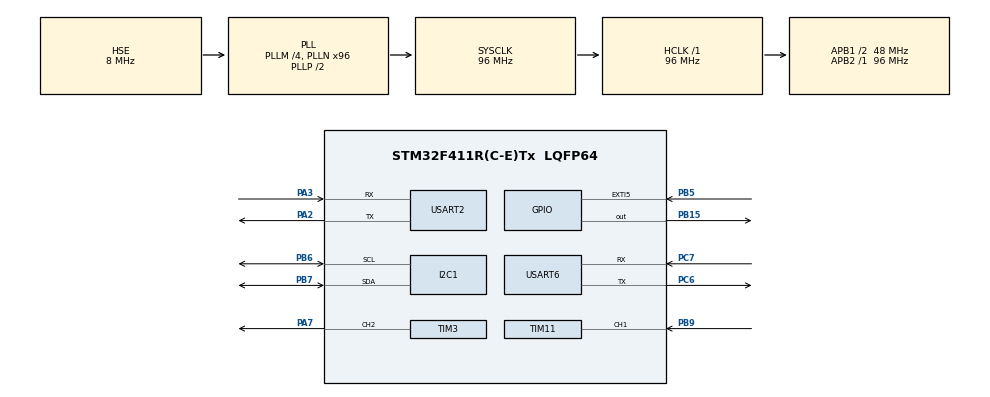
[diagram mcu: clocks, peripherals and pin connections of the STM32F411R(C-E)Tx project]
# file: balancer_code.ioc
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I2C1.I2C_Mode=I2C_Fast
Mcu.Family=STM32F4
Mcu.Name=STM32F411R(C-E)Tx
Mcu.Package=LQFP64
NVIC.PriorityGroup=NVIC_PRIORITYGROUP_4
NVIC.TIM1_UP_TIM10_IRQn=true\:0\:0\:false\:false\:true\:true\:true\:true
NVIC.TIM4_IRQn=true\:0\:0\:false\:false\:true\:true\:true\:true
NVIC.TIM5_IRQn=true\:0\:0\:false\:false\:true\:true\:true\:true
NVIC.USART2_IRQn=true\:0\:0\:false\:false\:true\:true\:true\:true
NVIC.USART6_IRQn=true\:0\:0\:false\:false\:true\:true\:true\:true
PA13.Mode=Serial_Wire
PA13.Signal=SYS_JTMS-SWDIO
PA14.Mode=Serial_Wire
PA14.Signal=SYS_JTCK-SWCLK
PA2.Mode=Asynchronous
PA2.Signal=USART2_TX
PA3.Mode=Asynchronous
PA3.Signal=USART2_RX
PA7.Signal=S_TIM3_CH2
PB15.GPIO_PuPd=GPIO_PULLDOWN
PB15.Signal=GPIO_Output
PB3.Signal=SYS_JTDO-SWO
PB5.Signal=GPXTI5
PB6.Mode=I2C
PB6.Signal=I2C1_SCL
PB7.Mode=I2C
PB7.Signal=I2C1_SDA
PB9.Signal=S_TIM11_CH1
PC6.Mode=Asynchronous
PC6.Signal=USART6_TX
PC7.Mode=Asynchronous
PC7.Signal=USART6_RX
PH0\ -\ OSC_IN.Mode=HSE-External-Oscillator
PH0\ -\ OSC_IN.Signal=RCC_OSC_IN
PH1\ -\ OSC_OUT.Mode=HSE-External-Oscillator
PH1\ -\ OSC_OUT.Signal=RCC_OSC_OUT
ProjectManager.HeapSize=0x200
ProjectManager.StackSize=0x400
ProjectManager.TargetToolchain=STM32CubeIDE
RCC.48MHZClocksFreq_Value=48000000
RCC.AHBFreq_Value=96000000
RCC.APB1CLKDivider=RCC_HCLK_DIV2
RCC.APB1Freq_Value=48000000
RCC.APB1TimFreq_Value=96000000
RCC.APB2Freq_Value=96000000
RCC.APB2TimFreq_Value=96000000
RCC.CortexFreq_Value=96000000
RCC.HCLKFreq_Value=96000000
RCC.HSE_VALUE=8000000
RCC.HSI_VALUE=16000000
RCC.LSE_VALUE=32768
RCC.PLLM=4
RCC.PLLN=96
RCC.PLLSourceVirtual=RCC_PLLSOURCE_HSE
RCC.RCC_RTC_Clock_Source=RCC_RTCCLKSOURCE_LSI
RCC.RCC_RTC_Clock_SourceVirtual=RCC_RTCCLKSOURCE_LSI
RCC.SYSCLKFreq_VALUE=96000000
RCC.SYSCLKSource=RCC_SYSCLKSOURCE_PLLCLK
RCC.VCOOutputFreq_Value=192000000
SH.S_TIM11_CH1.0=TIM11_CH1,Input_Capture1_from_TI1
SH.S_TIM3_CH2.0=TIM3_CH2,PWM Generation2 CH2
TIM1.Channel-Output\ Compare1\ No\ Output=TIM_CHANNEL_1
TIM1.Period=64000-1
TIM1.Prescaler=15-1
TIM11.Channel=TIM_CHANNEL_1
TIM3.Channel-PWM\ Generation2\ CH2=TIM_CHANNEL_2
TIM4.Channel-Output\ Compare1\ No\ Output=TIM_CHANNEL_1
TIM4.Period=64000-1
TIM4.Prescaler=75-1
TIM5.Channel-Output\ Compare1\ No\ Output=TIM_CHANNEL_1
TIM5.Period=64000-1
TIM5.Prescaler=150-1
USART2.VirtualMode=VM_ASYNC
USART6.VirtualMode=VM_ASYNC
VP_TIM11_VS_ClockSourceINT.Mode=Enable_Timer
VP_TIM1_VS_no_output1.Mode=Output Compare1 No Output
VP_TIM4_VS_no_output1.Mode=Output Compare1 No Output
VP_TIM5_VS_no_output1.Mode=Output Compare1 No Output
board=custom

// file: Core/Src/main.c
/* USER CODE BEGIN Header */
/**
  ******************************************************************************
  * @file   main.c
  * @brief  Main program body
  ******************************************************************************
  * @attention
  *
  * Copyright (c) 2024 STMicroelectronics.
  * All rights reserved.
  *
  * This software is licensed under terms that can be found in the LICENSE file
  * in the root directory of this software component.
  * If no LICENSE file comes with this software, it is provided AS-IS.
  *
  ******************************************************************************
  */
/* USER CODE END Header */
#include "main.h"

/* USER CODE BEGIN Includes */
#include "odrive_wrapper.h"
#include "IMU_driver.h"
#include "controller.h"
#include "rc_input.h"
#include <math.h>
/* USER CODE END Includes */

I2C_HandleTypeDef hi2c1;

TIM_HandleTypeDef htim1;
TIM_HandleTypeDef htim3;
TIM_HandleTypeDef htim4;
TIM_HandleTypeDef htim5;
TIM_HandleTypeDef htim11;

UART_HandleTypeDef huart2;
UART_HandleTypeDef huart6;

/* USER CODE BEGIN PV */

// comms test
/*
#define BUFFER_SIZE 5
uint8_t rxBuffer[BUFFER_SIZE];
uint8_t rxIndex = 0;
uint8_t char_in;
*/

// UART2 is laptop
// UART6 is odrive

// odrive obj
odrive_t odrive = {
		  .huart = &huart6
};

odrive_t laptop = {
		  .huart = &huart2
};

//creating IMU object
ICM_20948 IMU ={
		.hi2c = &hi2c1,
		.huart = &huart2 // uart to print data
};

extern uint8_t rxBuffer; // Receive buffer. max length of expected returned values.
extern uint8_t rxIndex; // init index at zero.
extern uint8_t responseFinishedFlag;
extern uint8_t receivedData;
extern char transmitBuffer;

volatile uint8_t IMU_rdy_flag = 0;
volatile uint8_t LED_rdy_flag = 0;
volatile uint8_t CTRL_rdy_flag = 0;

volatile float real_pos = 0;
volatile float sys_vel = 0;

/* USER CODE END PV */

void SystemClock_Config(void);
static void MX_GPIO_Init(void);
static void MX_I2C1_Init(void);
static void MX_USART2_UART_Init(void);
static void MX_TIM3_Init(void);
static void MX_USART6_UART_Init(void);
static void MX_TIM11_Init(void);
static void MX_TIM1_Init(void);
static void MX_TIM5_Init(void);
static void MX_TIM4_Init(void);

int main(void)
{

  /* MCU Configuration--------------------------------------------------------*/

  /* Reset of all peripherals, Initializes the Flash interface and the Systick. */
  HAL_Init();

  /* Configure the system clock */
  SystemClock_Config();

  /* Initialize all configured peripherals */
  MX_GPIO_Init();
  MX_I2C1_Init();
  MX_USART2_UART_Init();
  MX_TIM3_Init();
  MX_USART6_UART_Init();
  MX_TIM11_Init();
  MX_TIM1_Init();
  MX_TIM5_Init();
  MX_TIM4_Init();
  /* USER CODE BEGIN 2 */

  // start interrupts for timing tasks
  HAL_TIM_Base_Start_IT(&htim1);
  HAL_TIM_Base_Start_IT(&htim4);
  HAL_TIM_Base_Start_IT(&htim5);

  // start receiving
  start_receive_string(&odrive);

  HAL_UART_Transmit(&huart2, (uint8_t*)"\033c", strlen("\033c"), HAL_MAX_DELAY);

  ODRIVE_Reboot(&odrive);
  HAL_Delay(10000);

  ODRIVE_ClearErrors(&odrive);

  IMU_init(&IMU);

  // battery voltage readout
  //uint8_t* voltage = ODRIVE_GetVBus(&odrive);
  //char new_mess[50];
  //int mess_len = sprintf(new_mess, "Received VBus: %s\r\n", voltage);
  //HAL_UART_Transmit(laptop.huart, (uint8_t*)new_mess, mess_len, HAL_MAX_DELAY);

  /* USER CODE END 2 */

  /* Infinite loop */
  while (1)
  {

    /* USER CODE BEGIN 3 */

    /*
	// speed requests
	ODRIVE_SetVelocity(&odrive, 0, 2);
	ODRIVE_SetVelocity(&laptop, 0, 2);
	HAL_Delay(2000);
	ODRIVE_SetVelocity(&odrive, 0, 0.5);
	ODRIVE_SetVelocity(&laptop, 0, 0.5);
	HAL_Delay(2000);
	*/

	//IMU_read_accel(&IMU);
	//IMU_read_gyro(&IMU);

	// LED task
	if (LED_rdy_flag == 1) {
		LED_rdy_flag = 0;

		HAL_GPIO_TogglePin(GPIOB, GPIO_PIN_15);

	}

	// IMU read task
    if (IMU_rdy_flag ==  1) {
        IMU_rdy_flag = 0;

    	pos_spd new_IMU_out = calculate_IMU_Angle(&IMU);

    	real_pos = new_IMU_out.position - 90;
    	sys_vel = new_IMU_out.speed;

    	char ctrl_msg[50];
        sprintf(ctrl_msg, "SYS ANGLE: %.4f     ", real_pos);
        HAL_UART_Transmit(laptop.huart, (uint8_t*)ctrl_msg, strlen(ctrl_msg), HAL_MAX_DELAY);

        sprintf(ctrl_msg, "ANG_VEL: %.4f     \r\n", new_IMU_out.speed);
        HAL_UART_Transmit(laptop.huart, (uint8_t*)ctrl_msg, strlen(ctrl_msg), HAL_MAX_DELAY);

    }

    // Controller task
    if (CTRL_rdy_flag == 1) {
    	CTRL_rdy_flag = 0;

    	uint8_t* feedback = ODRIVE_GetFeedback(&odrive, 0);

    	float motor_pos, motor_vel;
    	extractFloats(feedback, &motor_pos, &motor_vel);

    	update_control(&odrive, real_pos, sys_vel, motor_vel);
    	//char feedback_mess[50];
        //int feedback_mess_len = sprintf(feedback_mess, "MOTOR_FEEDBACK: %s\r\n", feedback);
        //HAL_UART_Transmit(laptop.huart, (uint8_t*)feedback_mess, feedback_mess_len, HAL_MAX_DELAY);

    }

  }
  /* USER CODE END 3 */
}

void SystemClock_Config(void)
{
  RCC_OscInitTypeDef RCC_OscInitStruct = {0};
  RCC_ClkInitTypeDef RCC_ClkInitStruct = {0};

  /** Configure the main internal regulator output voltage
  */
  __HAL_RCC_PWR_CLK_ENABLE();
  __HAL_PWR_VOLTAGESCALING_CONFIG(PWR_REGULATOR_VOLTAGE_SCALE1);

  /** Initializes the RCC Oscillators according to the specified parameters
  * in the RCC_OscInitTypeDef structure.
  */
  RCC_OscInitStruct.OscillatorType = RCC_OSCILLATORTYPE_HSE;
  RCC_OscInitStruct.HSEState = RCC_HSE_ON;
  RCC_OscInitStruct.PLL.PLLState = RCC_PLL_ON;
  RCC_OscInitStruct.PLL.PLLSource = RCC_PLLSOURCE_HSE;
  RCC_OscInitStruct.PLL.PLLM = 4;
  RCC_OscInitStruct.PLL.PLLN = 96;
  RCC_OscInitStruct.PLL.PLLP = RCC_PLLP_DIV2;
  RCC_OscInitStruct.PLL.PLLQ = 4;
  if (HAL_RCC_OscConfig(&RCC_OscInitStruct) != HAL_OK)
  {
    Error_Handler();
  }

  /** Initializes the CPU, AHB and APB buses clocks
  */
  RCC_ClkInitStruct.ClockType = RCC_CLOCKTYPE_HCLK|RCC_CLOCKTYPE_SYSCLK
                              |RCC_CLOCKTYPE_PCLK1|RCC_CLOCKTYPE_PCLK2;
  RCC_ClkInitStruct.SYSCLKSource = RCC_SYSCLKSOURCE_PLLCLK;
  RCC_ClkInitStruct.AHBCLKDivider = RCC_SYSCLK_DIV1;
  RCC_ClkInitStruct.APB1CLKDivider = RCC_HCLK_DIV2;
  RCC_ClkInitStruct.APB2CLKDivider = RCC_HCLK_DIV1;

  if (HAL_RCC_ClockConfig(&RCC_ClkInitStruct, FLASH_LATENCY_3) != HAL_OK)
  {
    Error_Handler();
  }
}

static void MX_I2C1_Init(void)
{

  hi2c1.Instance = I2C1;
  hi2c1.Init.ClockSpeed = 400000;
  hi2c1.Init.DutyCycle = I2C_DUTYCYCLE_2;
  hi2c1.Init.OwnAddress1 = 0;
  hi2c1.Init.AddressingMode = I2C_ADDRESSINGMODE_7BIT;
  hi2c1.Init.DualAddressMode = I2C_DUALADDRESS_DISABLE;
  hi2c1.Init.OwnAddress2 = 0;
  hi2c1.Init.GeneralCallMode = I2C_GENERALCALL_DISABLE;
  hi2c1.Init.NoStretchMode = I2C_NOSTRETCH_DISABLE;
  if (HAL_I2C_Init(&hi2c1) != HAL_OK)
  {
    Error_Handler();
  }

}

static void MX_TIM1_Init(void)
{

  TIM_MasterConfigTypeDef sMasterConfig = {0};
  TIM_OC_InitTypeDef sConfigOC = {0};
  TIM_BreakDeadTimeConfigTypeDef sBreakDeadTimeConfig = {0};

  htim1.Instance = TIM1;
  htim1.Init.Prescaler = 15-1;
  htim1.Init.CounterMode = TIM_COUNTERMODE_UP;
  htim1.Init.Period = 64000-1;
  htim1.Init.ClockDivision = TIM_CLOCKDIVISION_DIV1;
  htim1.Init.RepetitionCounter = 0;
  htim1.Init.AutoReloadPreload = TIM_AUTORELOAD_PRELOAD_DISABLE;
  if (HAL_TIM_OC_Init(&htim1) != HAL_OK)
  {
    Error_Handler();
  }
  sMasterConfig.MasterOutputTrigger = TIM_TRGO_RESET;
  sMasterConfig.MasterSlaveMode = TIM_MASTERSLAVEMODE_DISABLE;
  if (HAL_TIMEx_MasterConfigSynchronization(&htim1, &sMasterConfig) != HAL_OK)
  {
    Error_Handler();
  }
  sConfigOC.OCMode = TIM_OCMODE_TIMING;
  sConfigOC.Pulse = 0;
  sConfigOC.OCPolarity = TIM_OCPOLARITY_HIGH;
  sConfigOC.OCNPolarity = TIM_OCNPOLARITY_HIGH;
  sConfigOC.OCFastMode = TIM_OCFAST_DISABLE;
  sConfigOC.OCIdleState = TIM_OCIDLESTATE_RESET;
  sConfigOC.OCNIdleState = TIM_OCNIDLESTATE_RESET;
  if (HAL_TIM_OC_ConfigChannel(&htim1, &sConfigOC, TIM_CHANNEL_1) != HAL_OK)
  {
    Error_Handler();
  }
  sBreakDeadTimeConfig.OffStateRunMode = TIM_OSSR_DISABLE;
  sBreakDeadTimeConfig.OffStateIDLEMode = TIM_OSSI_DISABLE;
  sBreakDeadTimeConfig.LockLevel = TIM_LOCKLEVEL_OFF;
  sBreakDeadTimeConfig.DeadTime = 0;
  sBreakDeadTimeConfig.BreakState = TIM_BREAK_DISABLE;
  sBreakDeadTimeConfig.BreakPolarity = TIM_BREAKPOLARITY_HIGH;
  sBreakDeadTimeConfig.AutomaticOutput = TIM_AUTOMATICOUTPUT_DISABLE;
  if (HAL_TIMEx_ConfigBreakDeadTime(&htim1, &sBreakDeadTimeConfig) != HAL_OK)
  {
    Error_Handler();
  }

}

static void MX_TIM3_Init(void)
{

  TIM_MasterConfigTypeDef sMasterConfig = {0};
  TIM_OC_InitTypeDef sConfigOC = {0};

  htim3.Instance = TIM3;
  htim3.Init.Prescaler = 0;
  htim3.Init.CounterMode = TIM_COUNTERMODE_UP;
  htim3.Init.Period = 65535;
  htim3.Init.ClockDivision = TIM_CLOCKDIVISION_DIV1;
  htim3.Init.AutoReloadPreload = TIM_AUTORELOAD_PRELOAD_DISABLE;
  if (HAL_TIM_PWM_Init(&htim3) != HAL_OK)
  {
    Error_Handler();
  }
  sMasterConfig.MasterOutputTrigger = TIM_TRGO_RESET;
  sMasterConfig.MasterSlaveMode = TIM_MASTERSLAVEMODE_DISABLE;
  if (HAL_TIMEx_MasterConfigSynchronization(&htim3, &sMasterConfig) != HAL_OK)
  {
    Error_Handler();
  }
  sConfigOC.OCMode = TIM_OCMODE_PWM1;
  sConfigOC.Pulse = 0;
  sConfigOC.OCPolarity = TIM_OCPOLARITY_HIGH;
  sConfigOC.OCFastMode = TIM_OCFAST_DISABLE;
  if (HAL_TIM_PWM_ConfigChannel(&htim3, &sConfigOC, TIM_CHANNEL_2) != HAL_OK)
  {
    Error_Handler();
  }
  HAL_TIM_MspPostInit(&htim3);

}

static void MX_TIM4_Init(void)
{

  TIM_MasterConfigTypeDef sMasterConfig = {0};
  TIM_OC_InitTypeDef sConfigOC = {0};

  htim4.Instance = TIM4;
  htim4.Init.Prescaler = 75-1;
  htim4.Init.CounterMode = TIM_COUNTERMODE_UP;
  htim4.Init.Period = 64000-1;
  htim4.Init.ClockDivision = TIM_CLOCKDIVISION_DIV1;
  htim4.Init.AutoReloadPreload = TIM_AUTORELOAD_PRELOAD_DISABLE;
  if (HAL_TIM_OC_Init(&htim4) != HAL_OK)
  {
    Error_Handler();
  }
  sMasterConfig.MasterOutputTrigger = TIM_TRGO_RESET;
  sMasterConfig.MasterSlaveMode = TIM_MASTERSLAVEMODE_DISABLE;
  if (HAL_TIMEx_MasterConfigSynchronization(&htim4, &sMasterConfig) != HAL_OK)
  {
    Error_Handler();
  }
  sConfigOC.OCMode = TIM_OCMODE_TIMING;
  sConfigOC.Pulse = 0;
  sConfigOC.OCPolarity = TIM_OCPOLARITY_HIGH;
  sConfigOC.OCFastMode = TIM_OCFAST_DISABLE;
  if (HAL_TIM_OC_ConfigChannel(&htim4, &sConfigOC, TIM_CHANNEL_1) != HAL_OK)
  {
    Error_Handler();
  }

}

static void MX_TIM5_Init(void)
{

  TIM_MasterConfigTypeDef sMasterConfig = {0};
  TIM_OC_InitTypeDef sConfigOC = {0};

  htim5.Instance = TIM5;
  htim5.Init.Prescaler = 150-1;
  htim5.Init.CounterMode = TIM_COUNTERMODE_UP;
  htim5.Init.Period = 64000-1;
  htim5.Init.ClockDivision = TIM_CLOCKDIVISION_DIV1;
  htim5.Init.AutoReloadPreload = TIM_AUTORELOAD_PRELOAD_DISABLE;
  if (HAL_TIM_OC_Init(&htim5) != HAL_OK)
  {
    Error_Handler();
  }
  sMasterConfig.MasterOutputTrigger = TIM_TRGO_RESET;
  sMasterConfig.MasterSlaveMode = TIM_MASTERSLAVEMODE_DISABLE;
  if (HAL_TIMEx_MasterConfigSynchronization(&htim5, &sMasterConfig) != HAL_OK)
  {
    Error_Handler();
  }
  sConfigOC.OCMode = TIM_OCMODE_TIMING;
  sConfigOC.Pulse = 0;
  sConfigOC.OCPolarity = TIM_OCPOLARITY_HIGH;
  sConfigOC.OCFastMode = TIM_OCFAST_DISABLE;
  if (HAL_TIM_OC_ConfigChannel(&htim5, &sConfigOC, TIM_CHANNEL_1) != HAL_OK)
  {
    Error_Handler();
  }

}

static void MX_TIM11_Init(void)
{

  TIM_IC_InitTypeDef sConfigIC = {0};

  htim11.Instance = TIM11;
  htim11.Init.Prescaler = 0;
  htim11.Init.CounterMode = TIM_COUNTERMODE_UP;
  htim11.Init.Period = 65535;
  htim11.Init.ClockDivision = TIM_CLOCKDIVISION_DIV1;
  htim11.Init.AutoReloadPreload = TIM_AUTORELOAD_PRELOAD_DISABLE;
  if (HAL_TIM_Base_Init(&htim11) != HAL_OK)
  {
    Error_Handler();
  }
  if (HAL_TIM_IC_Init(&htim11) != HAL_OK)
  {
    Error_Handler();
  }
  sConfigIC.ICPolarity = TIM_INPUTCHANNELPOLARITY_RISING;
  sConfigIC.ICSelection = TIM_ICSELECTION_DIRECTTI;
  sConfigIC.ICPrescaler = TIM_ICPSC_DIV1;
  sConfigIC.ICFilter = 0;
  if (HAL_TIM_IC_ConfigChannel(&htim11, &sConfigIC, TIM_CHANNEL_1) != HAL_OK)
  {
    Error_Handler();
  }

}

static void MX_USART2_UART_Init(void)
{

  huart2.Instance = USART2;
  huart2.Init.BaudRate = 115200;
  huart2.Init.WordLength = UART_WORDLENGTH_8B;
  huart2.Init.StopBits = UART_STOPBITS_1;
  huart2.Init.Parity = UART_PARITY_NONE;
  huart2.Init.Mode = UART_MODE_TX_RX;
  huart2.Init.HwFlowCtl = UART_HWCONTROL_NONE;
  huart2.Init.OverSampling = UART_OVERSAMPLING_16;
  if (HAL_UART_Init(&huart2) != HAL_OK)
  {
    Error_Handler();
  }

}

static void MX_USART6_UART_Init(void)
{

  huart6.Instance = USART6;
  huart6.Init.BaudRate = 115200;
  huart6.Init.WordLength = UART_WORDLENGTH_8B;
  huart6.Init.StopBits = UART_STOPBITS_1;
  huart6.Init.Parity = UART_PARITY_NONE;
  huart6.Init.Mode = UART_MODE_TX_RX;
  huart6.Init.HwFlowCtl = UART_HWCONTROL_NONE;
  huart6.Init.OverSampling = UART_OVERSAMPLING_16;
  if (HAL_UART_Init(&huart6) != HAL_OK)
  {
    Error_Handler();
  }

}

static void MX_GPIO_Init(void)
{
  GPIO_InitTypeDef GPIO_InitStruct = {0};

  /* GPIO Ports Clock Enable */
  __HAL_RCC_GPIOH_CLK_ENABLE();
  __HAL_RCC_GPIOA_CLK_ENABLE();
  __HAL_RCC_GPIOB_CLK_ENABLE();
  __HAL_RCC_GPIOC_CLK_ENABLE();

  /*Configure GPIO pin Output Level */
  HAL_GPIO_WritePin(GPIOB, GPIO_PIN_15, GPIO_PIN_RESET);

  /*Configure GPIO pin : PB15 */
  GPIO_InitStruct.Pin = GPIO_PIN_15;
  GPIO_InitStruct.Mode = GPIO_MODE_OUTPUT_PP;
  GPIO_InitStruct.Pull = GPIO_PULLDOWN;
  GPIO_InitStruct.Speed = GPIO_SPEED_FREQ_LOW;
  HAL_GPIO_Init(GPIOB, &GPIO_InitStruct);

  /*Configure GPIO pin : PB5 */
  GPIO_InitStruct.Pin = GPIO_PIN_5;
  GPIO_InitStruct.Mode = GPIO_MODE_IT_RISING;
  GPIO_InitStruct.Pull = GPIO_NOPULL;
  HAL_GPIO_Init(GPIOB, &GPIO_InitStruct);

}

/* USER CODE BEGIN 4 */

void HAL_UART_RxCpltCallback(UART_HandleTypeDef *huart)
{
	ODRIVE_Receive_Callback(huart, &odrive);
}

void HAL_TIM_PeriodElapsedCallback(TIM_HandleTypeDef*htim){
	if (htim == &htim1){ // check the timer value
		IMU_rdy_flag = 1;
	}
	else if (htim == &htim4){
		CTRL_rdy_flag = 1;
	}
	else if (htim == &htim5){
		LED_rdy_flag = 1;
	}
}

/* USER CODE END 4 */

void Error_Handler(void)
{
  __disable_irq();
  while (1)
  {
  }
}
